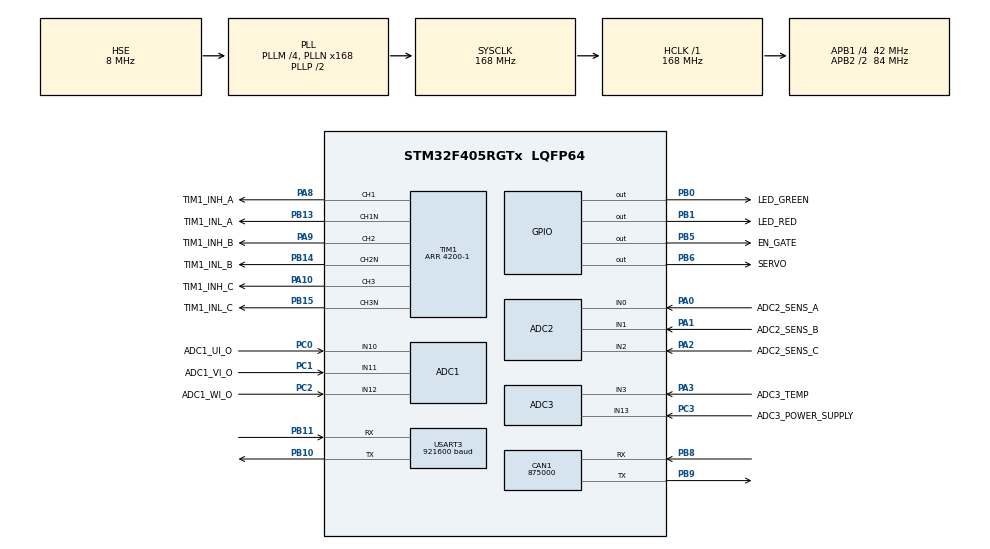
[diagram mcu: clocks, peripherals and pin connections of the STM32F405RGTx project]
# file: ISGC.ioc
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ADC1.Channel-10\#ChannelInjectedConversion=ADC_CHANNEL_10
ADC1.Channel-11\#ChannelInjectedConversion=ADC_CHANNEL_11
ADC1.Channel-12\#ChannelInjectedConversion=ADC_CHANNEL_12
ADC1.Channel-9\#ChannelRegularConversion=ADC_CHANNEL_10
ADC1.ExternalTrigInjecConv=ADC_EXTERNALTRIGINJECCONV_T1_CC4
ADC1.ExternalTrigInjecConvEdge=ADC_EXTERNALTRIGINJECCONVEDGE_RISING
ADC1.InjNumberOfConversion=3
ADC1.InjectedOffset-10\#ChannelInjectedConversion=0
ADC1.InjectedOffset-11\#ChannelInjectedConversion=0
ADC1.InjectedOffset-12\#ChannelInjectedConversion=0
ADC1.InjectedRank-10\#ChannelInjectedConversion=1
ADC1.InjectedRank-11\#ChannelInjectedConversion=2
ADC1.InjectedRank-12\#ChannelInjectedConversion=3
ADC1.NbrOfConversion=1
ADC1.NbrOfConversionFlag=1
ADC1.Rank-9\#ChannelRegularConversion=1
ADC1.SamplingTime-10\#ChannelInjectedConversion=ADC_SAMPLETIME_15CYCLES
ADC1.SamplingTime-11\#ChannelInjectedConversion=ADC_SAMPLETIME_15CYCLES
ADC1.SamplingTime-12\#ChannelInjectedConversion=ADC_SAMPLETIME_15CYCLES
ADC1.SamplingTime-9\#ChannelRegularConversion=ADC_SAMPLETIME_3CYCLES
ADC1.master=1
ADC2.Channel-0\#ChannelRegularConversion=ADC_CHANNEL_1
ADC2.Channel-1\#ChannelInjectedConversion=ADC_CHANNEL_0
ADC2.Channel-2\#ChannelInjectedConversion=ADC_CHANNEL_1
ADC2.Channel-3\#ChannelInjectedConversion=ADC_CHANNEL_2
ADC2.ClockPrescaler=ADC_CLOCK_SYNC_PCLK_DIV4
ADC2.EOCSelection=ADC_EOC_SEQ_CONV
ADC2.ExternalTrigInjecConv=ADC_EXTERNALTRIGINJECCONV_T1_CC4
ADC2.ExternalTrigInjecConvEdge=ADC_EXTERNALTRIGINJECCONVEDGE_FALLING
ADC2.InjNumberOfConversion=3
ADC2.InjectedOffset-1\#ChannelInjectedConversion=0
ADC2.InjectedOffset-2\#ChannelInjectedConversion=0
ADC2.InjectedOffset-3\#ChannelInjectedConversion=0
ADC2.InjectedRank-1\#ChannelInjectedConversion=1
ADC2.InjectedRank-2\#ChannelInjectedConversion=2
ADC2.InjectedRank-3\#ChannelInjectedConversion=3
ADC2.NbrOfConversionFlag=1
ADC2.Rank-0\#ChannelRegularConversion=1
ADC2.SamplingTime-0\#ChannelRegularConversion=ADC_SAMPLETIME_15CYCLES
ADC2.SamplingTime-1\#ChannelInjectedConversion=ADC_SAMPLETIME_15CYCLES
ADC2.SamplingTime-2\#ChannelInjectedConversion=ADC_SAMPLETIME_15CYCLES
ADC2.SamplingTime-3\#ChannelInjectedConversion=ADC_SAMPLETIME_15CYCLES
ADC3.Channel-0\#ChannelRegularConversion=ADC_CHANNEL_13
ADC3.Channel-1\#ChannelRegularConversion=ADC_CHANNEL_3
ADC3.InjNumberOfConversion=0
ADC3.NbrOfConversion=2
ADC3.NbrOfConversionFlag=1
ADC3.Rank-0\#ChannelRegularConversion=1
ADC3.Rank-1\#ChannelRegularConversion=2
ADC3.SamplingTime-0\#ChannelRegularConversion=ADC_SAMPLETIME_15CYCLES
ADC3.SamplingTime-1\#ChannelRegularConversion=ADC_SAMPLETIME_15CYCLES
CAN1.CalculateBaudRate=875000
CAN1.CalculateTimeBit=1142
CAN1.CalculateTimeQuantum=380.95238095238096
Dma.Request0=USART3_TX
Dma.USART3_TX.0.Direction=DMA_MEMORY_TO_PERIPH
Dma.USART3_TX.0.FIFOMode=DMA_FIFOMODE_DISABLE
Dma.USART3_TX.0.Instance=DMA1_Stream3
Dma.USART3_TX.0.MemDataAlignment=DMA_MDATAALIGN_BYTE
Dma.USART3_TX.0.MemInc=DMA_MINC_ENABLE
Dma.USART3_TX.0.Mode=DMA_NORMAL
Dma.USART3_TX.0.PeriphDataAlignment=DMA_PDATAALIGN_BYTE
Dma.USART3_TX.0.PeriphInc=DMA_PINC_DISABLE
Dma.USART3_TX.0.Priority=DMA_PRIORITY_LOW
IWDG.Prescaler=IWDG_PRESCALER_64
IWDG.Reload=500
Mcu.Family=STM32F4
Mcu.Name=STM32F405RGTx
Mcu.Package=LQFP64
NVIC.ADC_IRQn=true\:1\:0\:true\:false\:true\:true\:true\:true
NVIC.DMA1_Stream3_IRQn=true\:0\:0\:false\:false\:true\:false\:true\:true
NVIC.PriorityGroup=NVIC_PRIORITYGROUP_4
NVIC.TIM1_BRK_TIM9_IRQn=true\:0\:0\:false\:false\:true\:true\:true\:true
NVIC.TIM5_IRQn=true\:2\:0\:true\:false\:true\:true\:true\:true
NVIC.USART3_IRQn=true\:4\:0\:true\:false\:true\:true\:true\:true
PA0-WKUP.GPIO_Label=ADC2_SENS_A
PA0-WKUP.Signal=ADCx_IN0
PA1.GPIO_Label=ADC2_SENS_B
PA1.Signal=ADCx_IN1
PA10.GPIO_Label=TIM1_INH_C
PA10.Signal=S_TIM1_CH3
PA13.Mode=Serial_Wire
PA13.Signal=SYS_JTMS-SWDIO
PA14.Mode=Serial_Wire
PA14.Signal=SYS_JTCK-SWCLK
PA2.GPIO_Label=ADC2_SENS_C
PA2.Signal=ADCx_IN2
PA3.GPIO_Label=ADC3_TEMP
PA3.Signal=ADCx_IN3
PA8.GPIO_Label=TIM1_INH_A
PA8.Signal=S_TIM1_CH1
PA9.GPIO_Label=TIM1_INH_B
PA9.Signal=S_TIM1_CH2
PB0.GPIO_Label=LED_GREEN
PB0.Signal=GPIO_Output
PB1.GPIO_Label=LED_RED
PB1.Signal=GPIO_Output
PB10.Mode=Asynchronous
PB10.Signal=USART3_TX
PB11.Mode=Asynchronous
PB11.Signal=USART3_RX
PB13.GPIO_Label=TIM1_INL_A
PB13.Mode=PWM Generation1 CH1 CH1N
PB13.Signal=TIM1_CH1N
PB14.GPIO_Label=TIM1_INL_B
PB14.Mode=PWM Generation2 CH2 CH2N
PB14.Signal=TIM1_CH2N
PB15.GPIO_Label=TIM1_INL_C
PB15.Mode=PWM Generation3 CH3 CH3N
PB15.Signal=TIM1_CH3N
PB5.GPIO_Label=EN_GATE
PB5.Signal=GPIO_Output
PB6.GPIO_Label=SERVO
PB6.Signal=GPIO_Output
PB8.Mode=CAN_Activate
PB8.Signal=CAN1_RX
PB9.Mode=CAN_Activate
PB9.Signal=CAN1_TX
PC0.GPIO_Label=ADC1_UI_O
PC0.Signal=ADCx_IN10
PC1.GPIO_Label=ADC1_VI_O
PC1.Signal=ADCx_IN11
PC2.GPIO_Label=ADC1_WI_O
PC2.Signal=ADCx_IN12
PC3.GPIO_Label=ADC3_POWER_SUPPLY
PC3.Signal=ADCx_IN13
PH0-OSC_IN.Mode=HSE-External-Oscillator
PH0-OSC_IN.Signal=RCC_OSC_IN
PH1-OSC_OUT.Mode=HSE-External-Oscillator
PH1-OSC_OUT.Signal=RCC_OSC_OUT
ProjectManager.HeapSize=0x200
ProjectManager.StackSize=0x400
ProjectManager.TargetToolchain=MDK-ARM V5.32
RCC.48MHZClocksFreq_Value=48000000
RCC.AHBFreq_Value=168000000
RCC.APB1CLKDivider=RCC_HCLK_DIV4
RCC.APB1Freq_Value=42000000
RCC.APB1TimFreq_Value=84000000
RCC.APB2CLKDivider=RCC_HCLK_DIV2
RCC.APB2Freq_Value=84000000
RCC.APB2TimFreq_Value=168000000
RCC.CortexFreq_Value=168000000
RCC.HCLKFreq_Value=168000000
RCC.HSE_VALUE=8000000
RCC.HSI_VALUE=16000000
RCC.LSE_VALUE=32768
RCC.PLLM=4
RCC.PLLN=168
RCC.PLLQ=7
RCC.PLLSourceVirtual=RCC_PLLSOURCE_HSE
RCC.SYSCLKFreq_VALUE=168000000
RCC.SYSCLKSource=RCC_SYSCLKSOURCE_PLLCLK
RCC.VCOOutputFreq_Value=336000000
SH.ADCx_IN0.0=ADC2_IN0,IN0
SH.ADCx_IN1.0=ADC2_IN1,IN1
SH.ADCx_IN10.0=ADC1_IN10,IN10
SH.ADCx_IN11.0=ADC1_IN11,IN11
SH.ADCx_IN12.0=ADC1_IN12,IN12
SH.ADCx_IN13.0=ADC3_IN13,IN13
SH.ADCx_IN2.0=ADC2_IN2,IN2
SH.ADCx_IN3.0=ADC3_IN3,IN3
SH.S_TIM1_CH1.0=TIM1_CH1,PWM Generation1 CH1 CH1N
SH.S_TIM1_CH2.0=TIM1_CH2,PWM Generation2 CH2 CH2N
SH.S_TIM1_CH3.0=TIM1_CH3,PWM Generation3 CH3 CH3N
STMicroelectronics.X-CUBE-ALGOBUILD.1.4.0.LibraryCcDSPOoLibraryJjDSPOoLibrary=true
TIM1.AutoReloadPreload=TIM_AUTORELOAD_PRELOAD_ENABLE
TIM1.BreakState=TIM_BREAK_ENABLE
TIM1.Channel-PWM\ Generation1\ CH1\ CH1N=TIM_CHANNEL_1
TIM1.Channel-PWM\ Generation2\ CH2\ CH2N=TIM_CHANNEL_2
TIM1.Channel-PWM\ Generation3\ CH3\ CH3N=TIM_CHANNEL_3
TIM1.Channel-PWM\ Generation4\ No\ Output=TIM_CHANNEL_4
TIM1.ClockDivision=TIM_CLOCKDIVISION_DIV1
TIM1.CounterMode=TIM_COUNTERMODE_CENTERALIGNED1
TIM1.DeadTime=84
TIM1.OCMode_PWM-PWM\ Generation4\ No\ Output=TIM_OCMODE_PWM2
TIM1.Period=4200-1
TIM1.Pulse-PWM\ Generation4\ No\ Output=4050
TIM1.RepetitionCounter=1
TIM1.TIM_MasterOutputTrigger=TIM_TRGO_OC4REF
TIM1.TIM_MasterSlaveMode=TIM_MASTERSLAVEMODE_ENABLE
TIM5.AutoReloadPreload=TIM_AUTORELOAD_PRELOAD_ENABLE
TIM5.Period=1000-1
TIM5.Prescaler=84-1
USART3.BaudRate=921600
USART3.VirtualMode=VM_ASYNC
VP_IWDG_VS_IWDG.Mode=IWDG_Activate
VP_STMicroelectronics.X-CUBE-ALGOBUILD_VS_DSPOoLibraryJjLibrary_1.4.0_1.4.0.Mode=DSPOoLibraryJjLibrary
VP_TIM1_VS_ClockSourceINT.Mode=Internal
VP_TIM1_VS_no_output4.Mode=PWM Generation4 No Output
VP_TIM5_VS_ClockSourceINT.Mode=Internal
board=custom

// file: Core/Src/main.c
/* USER CODE BEGIN Header */
/**
  ******************************************************************************
  * @file           : main.c
  * @brief          : Main program body
  ******************************************************************************
  * @attention
  *
  * Copyright (c) 2026 STMicroelectronics.
  * All rights reserved.
  *
  * This software is licensed under terms that can be found in the LICENSE file
  * in the root directory of this software component.
  * If no LICENSE file comes with this software, it is provided AS-IS.
  *
  ******************************************************************************
  */
/* USER CODE END Header */
#include "main.h"
#include "adc.h"
#include "can.h"
#include "dma.h"
#include "iwdg.h"
#include "tim.h"
#include "usart.h"
#include "gpio.h"

/* USER CODE BEGIN Includes */
#include "../../bsp/bsp.h"
#include "../../bsp/bsp_system_time.h"
/* USER CODE END Includes */

/* USER CODE BEGIN PTD */
const TIM_HandleTypeDef *htim_system = &htim5;
/* USER CODE END PTD */

/* USER CODE BEGIN PV */
uint64_t last_1Hz_timestamp = 0;
uint64_t last_2Hz_timestamp = 0;
uint64_t last_10Hz_timestamp = 0;
uint64_t last_50Hz_timestamp = 0;
uint64_t last_100Hz_timestamp = 0;
uint64_t last_1000Hz_timestamp = 0;
uint64_t last_2000Hz_timestamp = 0;
/* USER CODE END PV */

void SystemClock_Config(void);

int main(void)
{

  /* MCU Configuration--------------------------------------------------------*/

  /* Reset of all peripherals, Initializes the Flash interface and the Systick. */
  HAL_Init();

  /* Configure the system clock */
  SystemClock_Config();

  /* Initialize all configured peripherals */
  MX_GPIO_Init();
  MX_DMA_Init();
  MX_CAN1_Init();
  MX_TIM1_Init();
  MX_ADC1_Init();
  MX_ADC2_Init();
  MX_IWDG_Init();
  MX_TIM5_Init();
  MX_USART3_UART_Init();
  MX_ADC3_Init();
  /* USER CODE BEGIN 2 */
#ifdef DEBUG
  __HAL_DBGMCU_FREEZE_IWDG();	// 调试时冻结 IWDG，避免断点导致复位
#endif

  bsp_Init();

  /* USER CODE END 2 */

  /* Infinite loop */
  while (1)
  {

    /* USER CODE BEGIN 3 */
    //空闲调用
		hal_fast_loop();

		//1Hz (1000ms)
		while(get_system_time_ms() >= last_1Hz_timestamp + 1000)
		{
		  last_1Hz_timestamp += 1000;
			hal_1hz_loop();
		}
		//2Hz (500ms)
		while(get_system_time_ms() >= last_2Hz_timestamp + 500)
		{
		  last_2Hz_timestamp += 500;
			hal_2hz_loop();
		}
		//10Hz (100ms)
		while(get_system_time_ms() >= last_10Hz_timestamp + 100)
		{
		  last_10Hz_timestamp += 100;
			hal_10hz_loop();
		}
		//50Hz (20ms)
		while(get_system_time_ms() >= last_50Hz_timestamp + 20)
		{
		  last_50Hz_timestamp += 20;
			hal_50hz_loop();
		}
		//100Hz (10ms)
		while(get_system_time_ms() >= last_100Hz_timestamp + 10)
		{
		  last_100Hz_timestamp += 10;
			hal_100hz_loop();
		}
		/* 1000Hz任务已在 HAL_TIM_PeriodElapsedCallback(TIM5) 中断执行，主循环不再轮询 */
  }
  /* USER CODE END 3 */
}

void SystemClock_Config(void)
{
  RCC_OscInitTypeDef RCC_OscInitStruct = {0};
  RCC_ClkInitTypeDef RCC_ClkInitStruct = {0};

  /** Configure the main internal regulator output voltage
  */
  __HAL_RCC_PWR_CLK_ENABLE();
  __HAL_PWR_VOLTAGESCALING_CONFIG(PWR_REGULATOR_VOLTAGE_SCALE1);

  /** Initializes the RCC Oscillators according to the specified parameters
  * in the RCC_OscInitTypeDef structure.
  */
  RCC_OscInitStruct.OscillatorType = RCC_OSCILLATORTYPE_LSI|RCC_OSCILLATORTYPE_HSE;
  RCC_OscInitStruct.HSEState = RCC_HSE_ON;
  RCC_OscInitStruct.LSIState = RCC_LSI_ON;
  RCC_OscInitStruct.PLL.PLLState = RCC_PLL_ON;
  RCC_OscInitStruct.PLL.PLLSource = RCC_PLLSOURCE_HSE;
  RCC_OscInitStruct.PLL.PLLM = 4;
  RCC_OscInitStruct.PLL.PLLN = 168;
  RCC_OscInitStruct.PLL.PLLP = RCC_PLLP_DIV2;
  RCC_OscInitStruct.PLL.PLLQ = 7;
  if (HAL_RCC_OscConfig(&RCC_OscInitStruct) != HAL_OK)
  {
    Error_Handler();
  }

  /** Initializes the CPU, AHB and APB buses clocks
  */
  RCC_ClkInitStruct.ClockType = RCC_CLOCKTYPE_HCLK|RCC_CLOCKTYPE_SYSCLK
                              |RCC_CLOCKTYPE_PCLK1|RCC_CLOCKTYPE_PCLK2;
  RCC_ClkInitStruct.SYSCLKSource = RCC_SYSCLKSOURCE_PLLCLK;
  RCC_ClkInitStruct.AHBCLKDivider = RCC_SYSCLK_DIV1;
  RCC_ClkInitStruct.APB1CLKDivider = RCC_HCLK_DIV4;
  RCC_ClkInitStruct.APB2CLKDivider = RCC_HCLK_DIV2;

  if (HAL_RCC_ClockConfig(&RCC_ClkInitStruct, FLASH_LATENCY_5) != HAL_OK)
  {
    Error_Handler();
  }
}

/* USER CODE BEGIN 4 */
void HAL_TIM_PeriodElapsedCallback(TIM_HandleTypeDef *htim)
{
  if(htim->Instance == TIM5)
	{
	  system_timer_tick();
		hal_1000hz_loop();  /* 1kHz实时任务在中断中执行，保证时序精度 */
	}

}
/* USER CODE END 4 */

void Error_Handler(void)
{
  __disable_irq();
  while (1)
  {
  }
}
